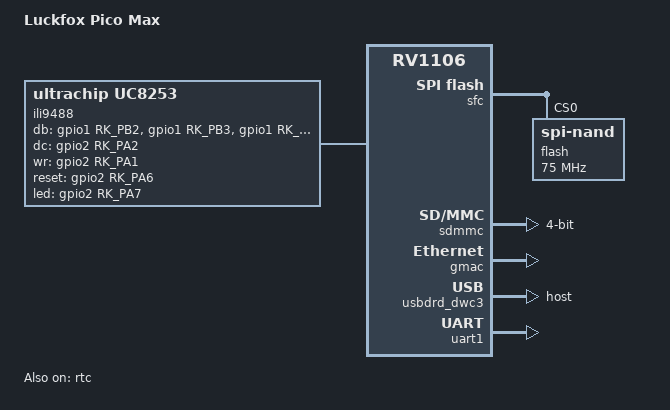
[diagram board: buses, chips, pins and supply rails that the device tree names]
// SPDX-License-Identifier: (GPL-2.0+ OR MIT)
/*
 * Copyright (c) 2022 Rockchip Electronics Co., Ltd.
 */

/dts-v1/;

#include "rv1106.dtsi"
#include "rv1106-evb.dtsi"
#include "rv1106-luckfox-pico-pro-max-ipc.dtsi"

/ {
	model = "Luckfox Pico Max";
	compatible = "rockchip,rv1103g-38x38-ipc-v10", "rockchip,rv1106";
	
	ili9488 {
        status = "okay";
        compatible = "ultrachip,uc8253";
		pinctrl-names = "default";
		pinctrl-0 = <&i80_pins>;
        fps = <30>;
        buswidth = <16>;
        debug = <0x7>;
        db =  <&gpio1 RK_PB2 GPIO_ACTIVE_HIGH>,
        			<&gpio1 RK_PB3 GPIO_ACTIVE_HIGH>,
        			<&gpio1 RK_PC7 GPIO_ACTIVE_HIGH>,
        			<&gpio1 RK_PC6 GPIO_ACTIVE_HIGH>,
        			<&gpio1 RK_PC5 GPIO_ACTIVE_HIGH>,
        			<&gpio1 RK_PC4 GPIO_ACTIVE_HIGH>,
        			<&gpio1 RK_PD2 GPIO_ACTIVE_HIGH>,
        			<&gpio1 RK_PD3 GPIO_ACTIVE_HIGH>,
        			<&gpio2 RK_PB1 GPIO_ACTIVE_HIGH>,
        			<&gpio1 RK_PC0 GPIO_ACTIVE_HIGH>,
        			<&gpio1 RK_PC1 GPIO_ACTIVE_HIGH>,
        			<&gpio1 RK_PC2 GPIO_ACTIVE_HIGH>,
        			<&gpio1 RK_PC3 GPIO_ACTIVE_HIGH>,
        			<&gpio2 RK_PB0 GPIO_ACTIVE_HIGH>,
        			<&gpio1 RK_PD0 GPIO_ACTIVE_HIGH>,
        			<&gpio1 RK_PD1 GPIO_ACTIVE_HIGH>;

        dc = <&gpio2 RK_PA2 GPIO_ACTIVE_HIGH>;      //RS
        wr = <&gpio2 RK_PA1 GPIO_ACTIVE_HIGH>;
        reset = <&gpio2 RK_PA6 GPIO_ACTIVE_HIGH>;    //RES
        led = <&gpio2 RK_PA7 GPIO_ACTIVE_HIGH>;
	};
	
	// i2c-gpio-0 {
	// 	compatible = "i2c-gpio";
	// 	sda-gpios = <&gpio4 RK_PC0 GPIO_ACTIVE_HIGH>; /* sda */
	// 	scl-gpios = <&gpio4 RK_PC1 GPIO_ACTIVE_HIGH>; /* scl */
	// 	i2c-gpio,sda-open-drain;
	// 	i2c-gpio,scl-open-drain;
	// 	i2c-gpio,delay-us = <2>;	/* ~100 kHz */
	// 	pinctrl-names = "default";
	// 	pinctrl-0 = <&i2c_gpio_pins>;
	// 	#address-cells = <1>;
	// 	#size-cells = <0>;
	// 	status = "okay";
		
	// 	rtp@38 {
	// 		compatible = "focaltech,ft6236";
	// 		reg = <0x38>;
	// 		interrupt-parent = <&gpio2>;
	// 		interrupts = <RK_PA3 IRQ_TYPE_EDGE_FALLING>;
    //     	reset-gpios = <&gpio2 RK_PA0 GPIO_ACTIVE_LOW>;
    //     	// wake-gpios = <&gpio2 RK_PA0 GPIO_ACTIVE_HIGH>;
    //     	pinctrl-names = "default";
	// 		pinctrl-0 = <&tp_pins>;
	// 		wakeup-source;
	// 		// touchscreen-inverted-x;
	// 		// touchscreen-inverted-y;
	// 		// touchscreen-swapped-x-y;
	// 		status = "okay";
	// 	};
	// };
};

&pinctrl {
	i80 {
		i80_pins: i80-pins {
			rockchip,pins =
				<1 RK_PB2 RK_FUNC_GPIO &pcfg_pull_none_drv_level_0>,
				<1 RK_PB3 RK_FUNC_GPIO &pcfg_pull_none_drv_level_0>,
				<1 RK_PC7 RK_FUNC_GPIO &pcfg_pull_none_drv_level_0>,
				<1 RK_PC6 RK_FUNC_GPIO &pcfg_pull_none_drv_level_0>,
				<1 RK_PC5 RK_FUNC_GPIO &pcfg_pull_none_drv_level_0>,
				<1 RK_PC4 RK_FUNC_GPIO &pcfg_pull_none_drv_level_0>,
				<1 RK_PD2 RK_FUNC_GPIO &pcfg_pull_none_drv_level_0>,
				<1 RK_PD3 RK_FUNC_GPIO &pcfg_pull_none_drv_level_0>,
				<2 RK_PB1 RK_FUNC_GPIO &pcfg_pull_none_drv_level_0>,
				<1 RK_PC0 RK_FUNC_GPIO &pcfg_pull_none_drv_level_0>,
				<1 RK_PC1 RK_FUNC_GPIO &pcfg_pull_none_drv_level_0>,
				<1 RK_PC2 RK_FUNC_GPIO &pcfg_pull_none_drv_level_0>,
				<1 RK_PC3 RK_FUNC_GPIO &pcfg_pull_none_drv_level_0>,
				<2 RK_PB0 RK_FUNC_GPIO &pcfg_pull_none_drv_level_0>,
				<1 RK_PD0 RK_FUNC_GPIO &pcfg_pull_none_drv_level_0>,
				<1 RK_PD1 RK_FUNC_GPIO &pcfg_pull_none_drv_level_0>,
				<2 RK_PA2 RK_FUNC_GPIO &pcfg_pull_none_drv_level_0>,
				<2 RK_PA1 RK_FUNC_GPIO &pcfg_pull_none_drv_level_0>,
				<2 RK_PA6 RK_FUNC_GPIO &pcfg_pull_none_drv_level_0>,
				<2 RK_PA7 RK_FUNC_GPIO &pcfg_pull_none_drv_level_0>;
		};
	};
	i2c-gpio {
		i2c_gpio_pins: i2c-gpio-pins {
			rockchip,pins =
				<4 RK_PC0 RK_FUNC_GPIO &pcfg_pull_none>,
				<4 RK_PC1 RK_FUNC_GPIO &pcfg_pull_none>;
		};
	};
	tp {
		tp_pins: tp-pins{
			rockchip,pins =
				<2 RK_PA3 RK_FUNC_GPIO &pcfg_pull_none>,
				<2 RK_PA0 RK_FUNC_GPIO &pcfg_pull_none>;
		};
	};
};

&saradc {
	status = "disabled";
};

/**********FLASH**********/
&sfc {
	status = "okay";
	flash@0 {
		compatible = "spi-nand";
		reg = <0>;
		spi-max-frequency = <75000000>;
		spi-rx-bus-width = <4>;
		spi-tx-bus-width = <1>;
	};
	
};

/**********SDMMC**********/
&sdmmc {
	max-frequency = <50000000>;
	no-sdio;
	no-mmc;
	bus-width = <4>;
	cap-mmc-highspeed;
	cap-sd-highspeed;
	disable-wp;
	pinctrl-names = "default";
	pinctrl-0 = <&sdmmc0_clk &sdmmc0_cmd &sdmmc0_det &sdmmc0_bus4>;
	status = "okay";
};

/**********SDIO**********/
// &sdio {
// 	max-frequency = <50000000>;
// 	no-sdio;
// 	no-mmc;
// 	bus-width = <4>;
// 	cap-mmc-highspeed;
// 	cap-sd-highspeed;
// 	disable-wp;
// 	pinctrl-names = "default";
// 	pinctrl-0 = <&sdmmc1m0_cmd &sdmmc1m0_clk &sdmmc1m0_bus4 &clk_32k>;
// 	status = "okay";
// };

/**********ETH**********/
&gmac {
	status = "okay";
};

/**********USB**********/
// &usbdrd_dwc3 {
// 	status = "okay";
// 	dr_mode = "peripheral";
// };
&usbdrd_dwc3 {
	status = "okay";
	dr_mode = "host";
};

/**********I2C**********/
// &i2c1 {
// 	status = "okay";
// 	pinctrl-0 = <&i2c1m1_xfer>;
// 	clock-frequency = <100000>;
// };
// &i2c3 {
// 	status = "okay";
// 	pinctrl-0 = <&i2c3m1_xfer>;
// 	clock-frequency = <100000>;
// };

// /**********SPI**********/
// &spi0 {
// 	status = "okay";
// 	pinctrl-names = "default";
// 	pinctrl-0 = <&spi0m0_pins>;
// 	cs-gpios = <&gpio1 RK_PC0 1>;
// 	// cs-gpios = <&gpio1 26 1>;
// 	#address-cells = <1>;
// 	#size-cells = <0>;
// 	spidev@0 {
// 		compatible = "rockchip,spidev";
// 		spi-max-frequency = <50000000>;
// 		reg = <0>;
// 	};
// };
// &spi0 {
//     status = "okay";
//     pinctrl-names = "default";
//     pinctrl-0 = <&spi0m0_cs0 &spi0m0_pins>;

//     st7789v@0{
//         status = "okay";
//         compatible = "sitronix,st7789v";
//         reg = <0>;
//         spi-max-frequency = <20000000>;
//         fps = <60>;
//         buswidth = <8>;
//         debug = <0x7>;
//         led-gpios = <&gpio0 RK_PA4 GPIO_ACTIVE_LOW>;//BL
//         dc = <&gpio1 RK_PA2 GPIO_ACTIVE_HIGH>;      //DC
//         reset = <&gpio1 RK_PC3 GPIO_ACTIVE_LOW>;    //RES
//     };
// };

// &pinctrl {
//     spi0 {
//         /omit-if-no-ref/
//         spi0m0_pins: spi0m0-pins {
//             rockchip,pins =
//                 /* spi0_clk_m0 */
//                 <1 RK_PC1 4 &pcfg_pull_none>,
//                 /* spie_miso_m0 */
//                 // <1 RK_PC3 6 &pcfg_pull_none>,
//                 /* spi_mosi_m0 */
//                 <1 RK_PC2 6 &pcfg_pull_none>;
//         };
//     };
// };


/**********UART**********/

// &uart0 {
// 	status = "okay";
// 	pinctrl-names = "default";
// 	pinctrl-0 = <&uart0m1_xfer>;
// };

&uart1 {
	status = "okay";
	pinctrl-names = "default";
	pinctrl-0 = <&uart1m1_xfer>;
};

// &uart3 {
// 	status = "okay";
// 	pinctrl-names = "default";
// 	pinctrl-0 = <&uart3m1_xfer>;
// };
// &uart4 {
// 	status = "okay";
// 	pinctrl-names = "default";
// 	pinctrl-0 = <&uart4m1_xfer>;
// };


// /**********PWM**********/

// &pwm0 {
// 	status = "okay";
// 	pinctrl-names = "active";
// 	pinctrl-0 = <&pwm0m0_pins>;
// 	// pinctrl-0 = <&pwm0m1_pins>;
// };
// &pwm1 {
// 	status = "okay";
// 	pinctrl-names = "active";
// 	pinctrl-0 = <&pwm1m0_pins>;
// 	// pinctrl-0 = <&pwm1m1_pins>;
// };

//&pwm2 {
//	status = "okay";
//	pinctrl-names = "active";
//	pinctrl-0 = <&pwm2m2_pins>;
//};
//&pwm3 {
//	status = "okay";
//	pinctrl-names = "active";
//	pinctrl-0 = <&pwm3m2_pins>;
//};
//&pwm4 {
//	status = "okay";
//	pinctrl-names = "active";
//	pinctrl-0 = <&pwm4m2_pins>;
//};
// &pwm5 {
// 	status = "okay";
// 	pinctrl-names = "active";
// 	pinctrl-0 = <&pwm5m1_pins>;
// 	// pinctrl-0 = <&pwm5m2_pins>;
// };
// &pwm6 {
// 	status = "okay";
// 	pinctrl-names = "active";
// 	pinctrl-0 = <&pwm6m1_pins>;
// 	// pinctrl-0 = <&pwm6m2_pins>;
// };
//&pwm7 {
//	status = "okay";
//	pinctrl-names = "active";
//	pinctrl-0 = <&pwm7m2_pins>;
//};
//&pwm8 {
//	status = "okay";
//	pinctrl-names = "active";
//	// pinctrl-0 = <&pwm8m1_pins>;
//	pinctrl-0 = <&pwm8m0_pins>;
//};
//&pwm9 {
//	status = "okay";
//	pinctrl-names = "active";
//	// pinctrl-0 = <&pwm9m1_pins>;
//	pinctrl-0 = <&pwm9m0_pins>;
//};

// &pwm10 {
// 	status = "okay";
// 	pinctrl-names = "active";
// 	pinctrl-0 = <&pwm10m1_pins>;
// 	// pinctrl-0 = <&pwm10m2_pins>;
// 	// pinctrl-0 = <&pwm10m0_pins>;
// };
// &pwm11 {
// 	status = "okay";
// 	pinctrl-names = "active";
// 	pinctrl-0 = <&pwm11m1_pins>;
// 	// pinctrl-0 = <&pwm11m2_pins>;
// 	// pinctrl-0 = <&pwm11m0_pins>;
// };


&rtc {
	status = "okay";
};


